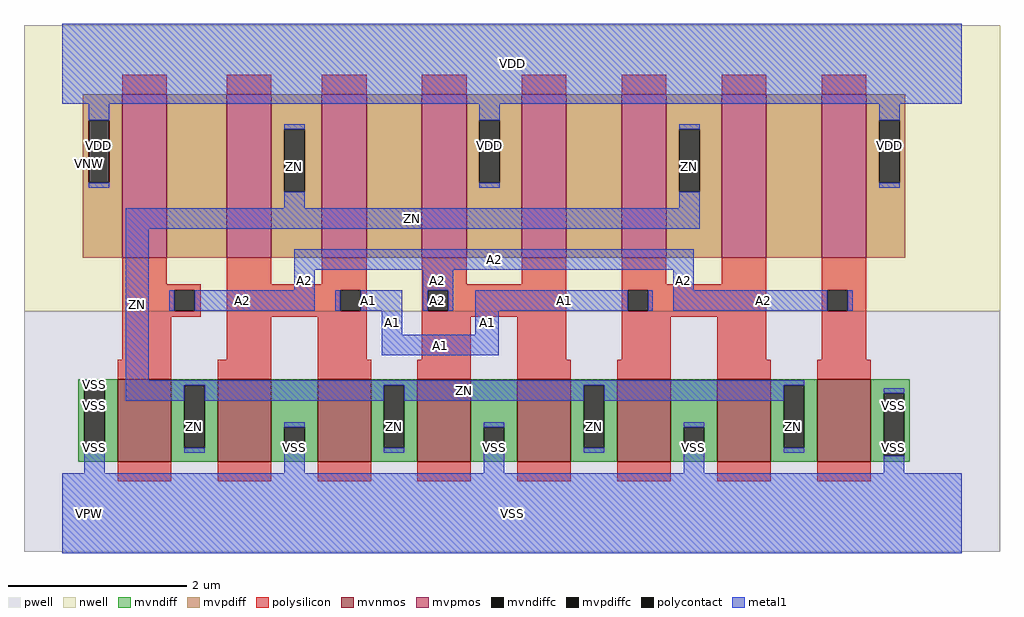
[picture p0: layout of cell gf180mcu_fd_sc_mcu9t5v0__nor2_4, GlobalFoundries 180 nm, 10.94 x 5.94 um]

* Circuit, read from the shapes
.subckt gf180mcu_fd_sc_mcu9t5v0__nor2_4 A1 A2 ZN VDD VNW VPW VSS
XM1 ZN A2 VSS VPW nfet_06v0 w=0.92u l=0.6u m=4
XM2 VSS A1 ZN VPW nfet_06v0 w=0.92u l=0.6u m=4
XM3 n1 A2 VDD VNW pfet_06v0 w=1.83u l=0.5u
XM4 ZN A1 n1 VNW pfet_06v0 w=1.83u l=0.5u
XM5 n2 A1 ZN VNW pfet_06v0 w=1.83u l=0.5u
XM6 VDD A2 n2 VNW pfet_06v0 w=1.83u l=0.5u
XM7 n3 A2 VDD VNW pfet_06v0 w=1.83u l=0.5u
XM8 ZN A1 n3 VNW pfet_06v0 w=1.83u l=0.5u
XM9 n4 A1 ZN VNW pfet_06v0 w=1.83u l=0.5u
XM10 VDD A2 n4 VNW pfet_06v0 w=1.83u l=0.5u
.ends

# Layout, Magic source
magic
tech gf180mcuD
magscale 1 10
<< nwell >>
rect -86 453 2102 1094
<< pwell >>
rect -86 -86 2102 453
<< mvnmos >>
rect 124 116 244 300
rect 348 116 468 300
rect 572 116 692 300
rect 796 116 916 300
rect 1020 116 1140 300
rect 1244 116 1364 300
rect 1468 116 1588 300
rect 1692 116 1812 300
<< mvpmos >>
rect 134 573 234 939
rect 368 573 468 939
rect 582 573 682 939
rect 806 573 906 939
rect 1030 573 1130 939
rect 1254 573 1354 939
rect 1478 573 1578 939
rect 1702 573 1802 939
<< mvndiff >>
rect 36 287 124 300
rect 36 147 49 287
rect 95 147 124 287
rect 36 116 124 147
rect 244 287 348 300
rect 244 147 273 287
rect 319 147 348 287
rect 244 116 348 147
rect 468 193 572 300
rect 468 147 497 193
rect 543 147 572 193
rect 468 116 572 147
rect 692 287 796 300
rect 692 147 721 287
rect 767 147 796 287
rect 692 116 796 147
rect 916 193 1020 300
rect 916 147 945 193
rect 991 147 1020 193
rect 916 116 1020 147
rect 1140 287 1244 300
rect 1140 147 1169 287
rect 1215 147 1244 287
rect 1140 116 1244 147
rect 1364 193 1468 300
rect 1364 147 1393 193
rect 1439 147 1468 193
rect 1364 116 1468 147
rect 1588 287 1692 300
rect 1588 147 1617 287
rect 1663 147 1692 287
rect 1588 116 1692 147
rect 1812 269 1900 300
rect 1812 129 1841 269
rect 1887 129 1900 269
rect 1812 116 1900 129
<< mvpdiff >>
rect 46 881 134 939
rect 46 741 59 881
rect 105 741 134 881
rect 46 573 134 741
rect 234 573 368 939
rect 468 861 582 939
rect 468 721 497 861
rect 543 721 582 861
rect 468 573 582 721
rect 682 573 806 939
rect 906 881 1030 939
rect 906 741 935 881
rect 981 741 1030 881
rect 906 573 1030 741
rect 1130 573 1254 939
rect 1354 861 1478 939
rect 1354 721 1383 861
rect 1429 721 1478 861
rect 1354 573 1478 721
rect 1578 573 1702 939
rect 1802 881 1890 939
rect 1802 741 1831 881
rect 1877 741 1890 881
rect 1802 573 1890 741
<< mvndiffc >>
rect 49 147 95 287
rect 273 147 319 287
rect 497 147 543 193
rect 721 147 767 287
rect 945 147 991 193
rect 1169 147 1215 287
rect 1393 147 1439 193
rect 1617 147 1663 287
rect 1841 129 1887 269
<< mvpdiffc >>
rect 59 741 105 881
rect 497 721 543 861
rect 935 741 981 881
rect 1383 721 1429 861
rect 1831 741 1877 881
<< polysilicon >>
rect 134 939 234 983
rect 368 939 468 983
rect 582 939 682 983
rect 806 939 906 983
rect 1030 939 1130 983
rect 1254 939 1354 983
rect 1478 939 1578 983
rect 1702 939 1802 983
rect 134 513 234 573
rect 368 513 468 573
rect 582 513 682 573
rect 134 500 310 513
rect 134 454 251 500
rect 297 454 310 500
rect 134 441 310 454
rect 368 500 682 513
rect 368 454 623 500
rect 669 454 682 500
rect 368 441 682 454
rect 134 344 244 441
rect 368 344 468 441
rect 124 300 244 344
rect 348 300 468 344
rect 572 344 682 441
rect 806 513 906 573
rect 1030 513 1130 573
rect 806 500 1130 513
rect 806 454 819 500
rect 865 454 1130 500
rect 806 441 1130 454
rect 806 344 916 441
rect 572 300 692 344
rect 796 300 916 344
rect 1020 344 1130 441
rect 1254 513 1354 573
rect 1478 513 1578 573
rect 1254 500 1578 513
rect 1254 454 1267 500
rect 1313 454 1578 500
rect 1254 441 1578 454
rect 1254 344 1364 441
rect 1020 300 1140 344
rect 1244 300 1364 344
rect 1468 344 1578 441
rect 1702 500 1802 573
rect 1702 454 1715 500
rect 1761 454 1802 500
rect 1702 344 1802 454
rect 1468 300 1588 344
rect 1692 300 1812 344
rect 124 72 244 116
rect 348 72 468 116
rect 572 72 692 116
rect 796 72 916 116
rect 1020 72 1140 116
rect 1244 72 1364 116
rect 1468 72 1588 116
rect 1692 72 1812 116
<< polycontact >>
rect 251 454 297 500
rect 623 454 669 500
rect 819 454 865 500
rect 1267 454 1313 500
rect 1715 454 1761 500
<< metal1 >>
rect 0 918 2016 1098
rect 59 881 105 918
rect 935 881 981 918
rect 59 730 105 741
rect 497 861 543 872
rect 1831 881 1877 918
rect 935 730 981 741
rect 1383 861 1429 872
rect 497 684 543 721
rect 1831 730 1877 741
rect 1383 684 1429 721
rect 142 638 1429 684
rect 142 298 194 638
rect 520 546 1416 592
rect 520 500 566 546
rect 808 500 876 546
rect 1370 500 1416 546
rect 240 454 251 500
rect 297 454 566 500
rect 612 454 623 500
rect 669 454 762 500
rect 808 454 819 500
rect 865 454 876 500
rect 926 454 1267 500
rect 1313 454 1324 500
rect 1370 454 1715 500
rect 1761 454 1772 500
rect 716 400 762 454
rect 926 400 978 454
rect 716 354 978 400
rect 49 287 95 298
rect 142 287 1663 298
rect 142 252 273 287
rect 49 90 95 147
rect 319 252 721 287
rect 273 136 319 147
rect 497 193 543 204
rect 497 90 543 147
rect 767 252 1169 287
rect 721 136 767 147
rect 945 193 991 204
rect 945 90 991 147
rect 1215 252 1617 287
rect 1169 136 1215 147
rect 1393 193 1439 204
rect 1393 90 1439 147
rect 1617 136 1663 147
rect 1841 269 1887 280
rect 1841 90 1887 129
rect 0 -90 2016 90
<< labels >>
flabel metal1 s 926 454 1324 500 0 FreeSans 200 0 0 0 A1
port 1 nsew default input
flabel metal1 s 520 546 1416 592 0 FreeSans 200 0 0 0 A2
port 2 nsew default input
flabel metal1 s 0 918 2016 1098 0 FreeSans 200 0 0 0 VDD
port 4 nsew power bidirectional abutment
flabel metal1 s 49 280 95 298 0 FreeSans 200 0 0 0 VSS
port 7 nsew ground bidirectional abutment
flabel metal1 s 1383 684 1429 872 0 FreeSans 200 0 0 0 ZN
port 3 nsew default output
flabel nwell s 10 734 110 834 0 FreeSans 400 0 0 0 VNW
port 5 nsew power bidirectional
flabel pwell s 10 -50 110 50 0 FreeSans 400 0 0 0 VPW
port 6 nsew ground bidirectional
rlabel metal1 s 612 454 762 500 1 A1
port 1 nsew default input
rlabel metal1 s 926 400 978 454 1 A1
port 1 nsew default input
rlabel metal1 s 716 400 762 454 1 A1
port 1 nsew default input
rlabel metal1 s 716 354 978 400 1 A1
port 1 nsew default input
rlabel metal1 s 1370 500 1416 546 1 A2
port 2 nsew default input
rlabel metal1 s 808 500 876 546 1 A2
port 2 nsew default input
rlabel metal1 s 520 500 566 546 1 A2
port 2 nsew default input
rlabel metal1 s 1370 454 1772 500 1 A2
port 2 nsew default input
rlabel metal1 s 808 454 876 500 1 A2
port 2 nsew default input
rlabel metal1 s 240 454 566 500 1 A2
port 2 nsew default input
rlabel metal1 s 497 684 543 872 1 ZN
port 3 nsew default output
rlabel metal1 s 142 638 1429 684 1 ZN
port 3 nsew default output
rlabel metal1 s 142 298 194 638 1 ZN
port 3 nsew default output
rlabel metal1 s 142 252 1663 298 1 ZN
port 3 nsew default output
rlabel metal1 s 1617 136 1663 252 1 ZN
port 3 nsew default output
rlabel metal1 s 1169 136 1215 252 1 ZN
port 3 nsew default output
rlabel metal1 s 721 136 767 252 1 ZN
port 3 nsew default output
rlabel metal1 s 273 136 319 252 1 ZN
port 3 nsew default output
rlabel metal1 s 1831 730 1877 918 1 VDD
port 4 nsew power bidirectional abutment
rlabel metal1 s 935 730 981 918 1 VDD
port 4 nsew power bidirectional abutment
rlabel metal1 s 59 730 105 918 1 VDD
port 4 nsew power bidirectional abutment
rlabel metal1 s 1841 204 1887 280 1 VSS
port 7 nsew ground bidirectional abutment
rlabel metal1 s 49 204 95 280 1 VSS
port 7 nsew ground bidirectional abutment
rlabel metal1 s 1841 90 1887 204 1 VSS
port 7 nsew ground bidirectional abutment
rlabel metal1 s 1393 90 1439 204 1 VSS
port 7 nsew ground bidirectional abutment
rlabel metal1 s 945 90 991 204 1 VSS
port 7 nsew ground bidirectional abutment
rlabel metal1 s 497 90 543 204 1 VSS
port 7 nsew ground bidirectional abutment
rlabel metal1 s 49 90 95 204 1 VSS
port 7 nsew ground bidirectional abutment
rlabel metal1 s 0 -90 2016 90 1 VSS
port 7 nsew ground bidirectional abutment
<< properties >>
string FIXED_BBOX 0 0 2016 1008
string GDS_END 85670
string GDS_FILE $PDKPATH/libs.ref/gf180mcu_fd_sc_mcu9t5v0/gds/gf180mcu_fd_sc_mcu9t5v0.gds
string GDS_START 80786
string LEFclass core
string LEFsite GF018hv5v_green_sc9
string LEFsymmetry X Y
<< end >>
